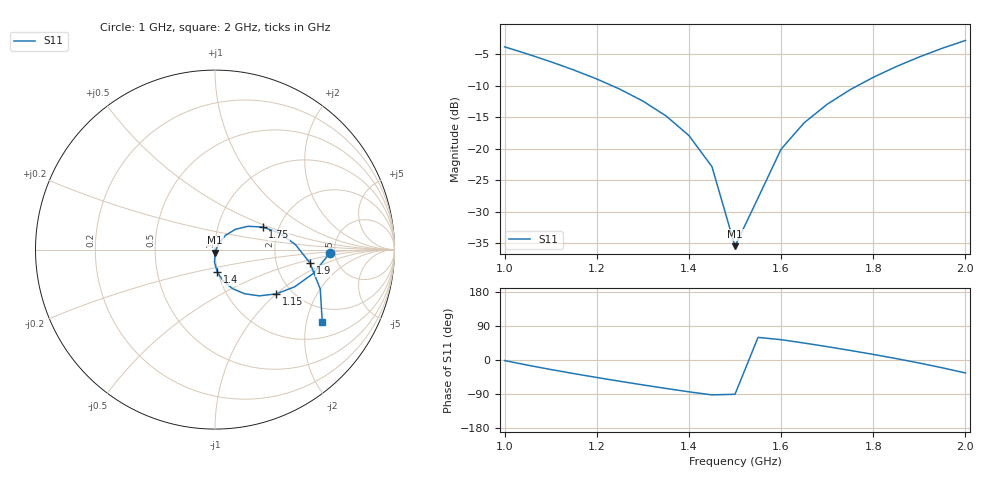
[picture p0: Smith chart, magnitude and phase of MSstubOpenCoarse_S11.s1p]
! S-parameter export from FEKO
!  Filename:  MSstubOpenCoarse_S11.s1p
!  Creation date: 2015-04-04 12:12:47
# Hz S MA R  5.00000E+01
!  FREQ  |S11|  <S11
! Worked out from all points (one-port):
!   21 points, 1 GHz to 2 GHz, reference 50 ohm
!   lowest |S11| = -35.5 dB at 1.5 GHz (marker M1), VSWR 1.03, Z = 50 - j1.69 ohm
!   |S11| at or under -10 dB: 1.233 GHz to 1.766 GHz (533 MHz wide, 35.5 % of centre)
!   S11 on the Smith chart (normalised r, x): 1 GHz: 4.59, -0.26; 1.15 GHz: 1.66, -1.00; 1.4 GHz: 0.99, -0.26; 1.75 GHz: 1.65, +0.45; 1.9 GHz: 3.14, -0.66; 2 GHz: 1.46, -2.49
1e9  0.643 -1.5
1.05e9  0.5636 -13.6
1.1e9  0.4899 -25.0
1.15e9  0.4215 -35.8
1.2e9  0.3574 -46.1
1.25e9  0.2969 -56.1
1.3e9  0.2389 -65.7
1.35e9  0.1826 -75.1
1.4e9  0.1272 -84.0
1.45e9  0.07209 -92.1
1.5e9  0.01688 -90.4
1.55e9  0.04071 59.7
1.6e9  0.09923 53.6
1.65e9  0.1605 44.8
1.7e9  0.2253 35.2
1.75e9  0.2943 25.2
1.8e9  0.3684 14.8
1.85e9  0.4485 3.7
1.9e9  0.5346 -8.0
1.95e9  0.6267 -20.6
2e9  0.7224 -34.2
